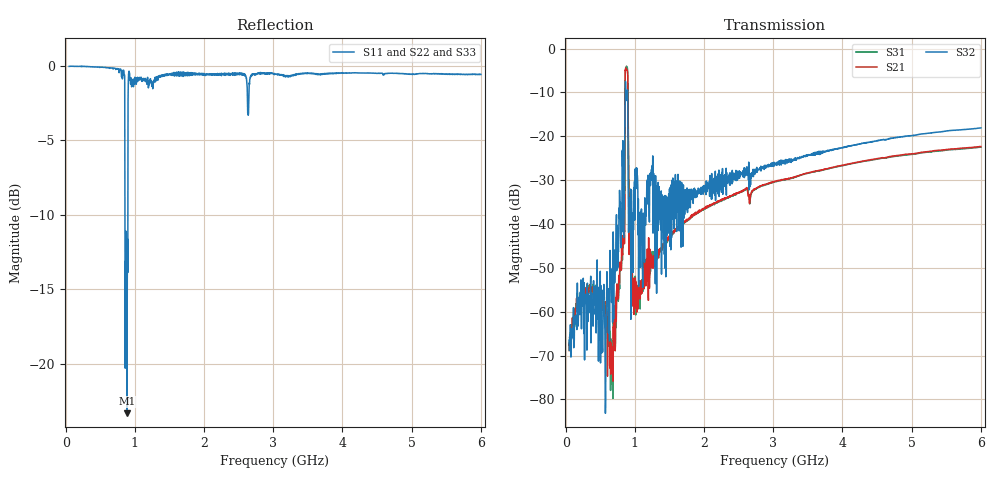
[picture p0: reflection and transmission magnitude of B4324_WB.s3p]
! Matrix data file written by TouchstoneData, EPCOS AG
! FILENAME: "newformat_AA61A_X6Y7_WB.s3p"
! COMMENT: "(AA61A_X6Y7_WB.s3p) Epcos AG 9/27/2012 1:33:"
! INFO: nport=3, nfreq=1601
! DATE: "Wed Oct 24 16:56:26 2012"
! USER: "Michael Schemies"
! port | pin | signal
!  1  |  1  |  in
!  2  |  3  |  out
!  3  |  4  |  out
# MHZ S MA R 50
! freq  magS11 angS11  magS12 angS12  magS13 angS13  ...
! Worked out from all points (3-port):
!   1601 points, 50 MHz to 6 GHz, reference 50 ohm
!   strongest paths, dB at 50 MHz, 1.538 GHz, 3.025 GHz, 4.513 GHz, 6 GHz:
!     S32: -66.5, -30.0, -26.3, -21.0, -18.1
!     S21: -68.8, -42.3, -30.3, -25.0, -22.3
!     S31: -67.2, -42.2, -30.4, -25.2, -22.5
!   lowest |S11| = -23.3 dB at 886.7 MHz (marker M1), VSWR 1.15, Z = 43.6 - j0.532 ohm
!   |S11| at or under -10 dB: 857.2 MHz to 899.1 MHz (41.89 MHz wide, 4.77 % of centre)
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50  0.9956 -6.5  0.0003495 78.6  0.0004254 91.1
    0.000361 88.3  0.9987 -5.6  0.0003866 83.0
    0.0004377 91.4  0.0004727 78.1  0.9981 -5.6
369.8125  0.9922 -45.9  0.001873 44.2  0.001936 44.1
          0.001883 44.4  0.9936 -39.4  0.0006925 101.4
          0.001936 45.2  0.0007107 105.5  0.9927 -39.6
689.625  0.979 -83.1  0.0006832 -146.2  0.0007418 -141.6
         0.0006823 -144.4  0.977 -73.6  0.005628 101.1
         0.0007456 -142.1  0.005672 101.3  0.9787 -74.0
823.5  0.9181 -110.7  0.004433 164.1  0.004814 170.3
       0.004448 164.3  0.9092 -107.5  0.04497 30.2
       0.004807 170.7  0.04521 30.2  0.876 -106.1
886.7188  0.06822 -174.9  0.5733 155.1  0.6111 -21.9
          0.5712 155.1  0.3332 48.7  0.3132 80.3
          0.612 -22.0  0.3147 80.2  0.2924 42.1
942.5  0.912 -72.1  0.00208 98.6  0.00477 7.4
       0.002093 98.5  0.8952 -62.1  0.0007975 48.6
       0.004769 7.4  0.0008189 49.6  0.9044 -61.3
1016.875  0.912 -85.3  0.00119 89.6  0.001076 74.6
          0.001093 89.8  0.9085 -77.1  0.03032 2.7
          0.001038 73.3  0.0314 2.8  0.9148 -76.9
1083.812  0.902 -93.9  0.002089 132.8  0.001934 134.1
          0.001984 131.2  0.9198 -83.6  0.009518 159.9
          0.001924 134.3  0.009887 160.0  0.9242 -83.5
3025  0.9405 -155.2  0.03064 111.6  0.03024 111.4
      0.0306 111.6  0.9223 -149.8  0.04846 116.8
      0.03027 111.3  0.04865 116.7  0.9265 -150.3
6000  0.9353 159.2  0.07684 62.6  0.07497 62.4
      0.07642 62.5  0.9121 157.5  0.1241 65.0
      0.07514 62.6  0.1246 64.9  0.9151 157.4
